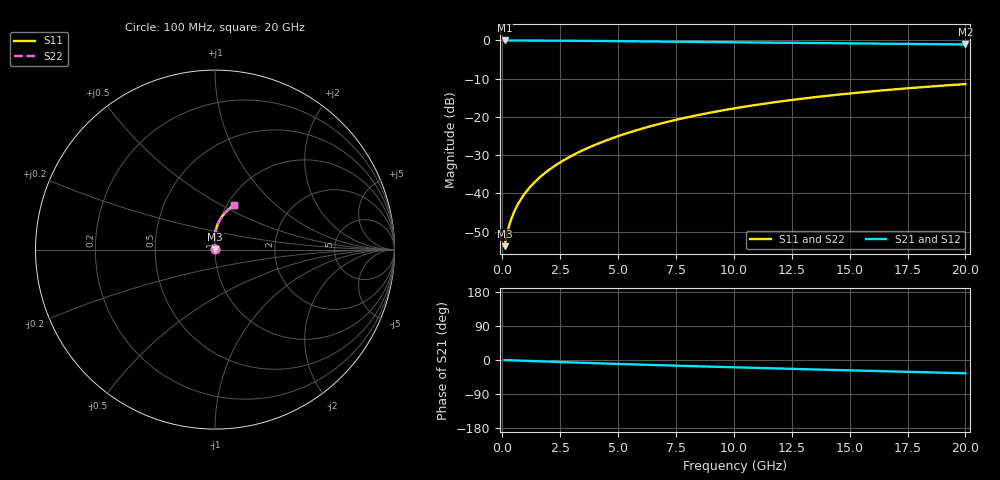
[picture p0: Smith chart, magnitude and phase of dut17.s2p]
! Touchstone file exported from HFSS 2024.1.0
!  File:  C:/UserFiles/LocalFiles/RDL_TSV_Batchsim/temp_RDL_top_17_1778680091.aedt
!  Generated:  09:50:28 PM May 13, 2026
!  Design:  RDL_top
!  Project:  temp_RDL_top_17_1778680091
!  Setup:  Setup1
!  Solution:  Sweep
! Variables:
!  dtsv = 10.80580581um
!  hbump = 3um
!  htsv = 60.17um
!  ldown = 100um
!  lrdl = 540.84um
!  p = 40
!  p1 = 48.93um
!  rhole = 1um
!  t = 450um
!  tdown = 3.915915916um
!  trdl = 4.82um
!  wdown = 15.38538539um
!  wrdl = 27.46um
# GHz S MA R 50.000000
! Terminal data exported
! Port[1] = Box2_T1
! Port[2] = Box2_T2
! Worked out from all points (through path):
!   200 points, 100 MHz to 20 GHz, reference 50 ohm
!   highest |S21| = -0.01 dB at 100 MHz (marker M1); lowest = -1.1 dB at 20 GHz (marker M2)
!   group delay of S21, straight-line fit = 4.78 ps
!   lowest |S11| = -53.8 dB at 100 MHz (marker M3), VSWR 1.00, Z = 50.2 + j0.119 ohm
!   |S11| at or under -10 dB: start of sweep to end of sweep
!   |S22| runs from -53.8 to -11.4 dB; largest |S21 - S12| = 3.3e-15
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0.1  0.002046 35.5  0.9983 -0.2  0.9983 -0.2  0.002046 35.5
! Gamma 0 0 0 0
! Port Impedance 50 0 50 0
0.2  0.002915 52.0  0.9981 -0.5  0.9981 -0.5  0.002915 52.0
0.3  0.003842 59.9  0.9979 -0.7  0.9979 -0.7  0.003841 59.9
0.4  0.004752 64.8  0.9978 -0.9  0.9978 -0.9  0.004752 64.8
0.5  0.005651 68.4  0.9976 -1.1  0.9976 -1.1  0.005651 68.4
0.6  0.00655 71.3  0.9974 -1.3  0.9974 -1.3  0.006549 71.3
0.8  0.00837 75.6  0.9971 -1.8  0.9971 -1.8  0.008369 75.6
1.1  0.01118 80.0  0.9965 -2.4  0.9965 -2.4  0.01118 80.0
1.3  0.0131 82.1  0.996 -2.8  0.996 -2.8  0.0131 82.1
1.6  0.01607 84.5  0.9951 -3.5  0.9951 -3.5  0.01607 84.5
2.1  0.0212 87.3  0.9933 -4.6  0.9933 -4.6  0.0212 87.3
2.7  0.0277 89.5  0.9906 -5.8  0.9906 -5.8  0.0277 89.5
3.5  0.03695 91.2  0.9864 -7.5  0.9864 -7.5  0.03696 91.2
4.2  0.04559 91.9  0.9822 -8.8  0.9822 -8.8  0.0456 91.9
5  0.05604 92.1  0.9771 -10.4  0.9771 -10.4  0.05606 92.1
6.8  0.0813 90.8  0.9651 -13.7  0.9651 -13.7  0.08134 90.8
8.4  0.105 88.5  0.9545 -16.5  0.9545 -16.5  0.1051 88.5
10.1  0.1307 85.5  0.9436 -19.4  0.9436 -19.4  0.1307 85.5
11.7  0.1547 82.4  0.9337 -22.1  0.9337 -22.1  0.1548 82.4
13.4  0.1798 79.1  0.9235 -24.8  0.9235 -24.8  0.1798 79.1
16.7  0.2261 72.7  0.9042 -30.0  0.9042 -30.0  0.2262 72.7
20  0.2686 66.7  0.8854 -35.0  0.8854 -35.0  0.2688 66.7
